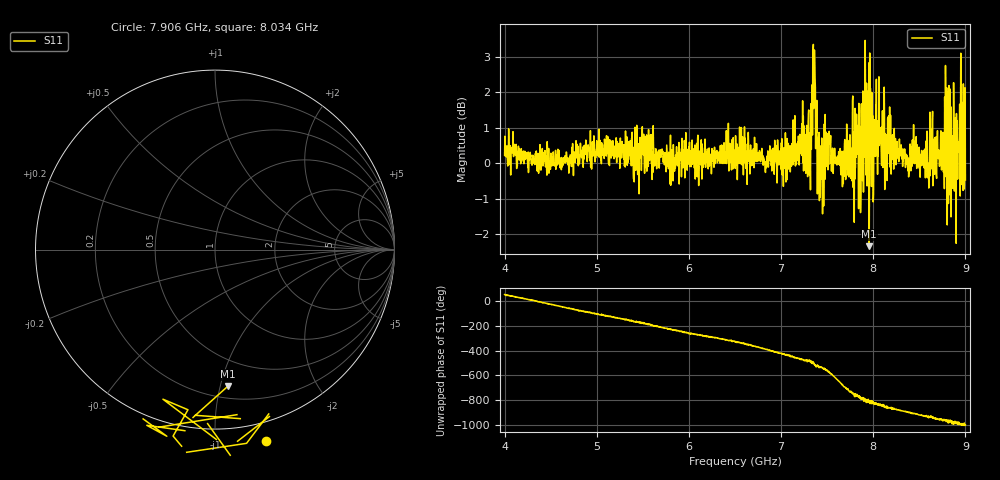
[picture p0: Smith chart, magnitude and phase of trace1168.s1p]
! Created with skrf 1.8.0 (http://scikit-rf.org).
# Hz S RI R 50.0
!freq ReS11 ImS11
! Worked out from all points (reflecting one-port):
!   1601 points, 4 GHz to 9 GHz, reference 50 ohm
!   lowest |S11| = -2.3 dB at 7.956 GHz (marker M1), VSWR 7.49, Z = 14.4 - j52.8 ohm
!   phase of S11 starts at 52 deg and turns -1049 deg over the sweep
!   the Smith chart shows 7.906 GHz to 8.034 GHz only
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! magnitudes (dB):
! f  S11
! 4 GHz  0.2
! 4.625 GHz  -0.1
! 5.25 GHz  -0.1
! 5.875 GHz  -0.1
! 6.5 GHz  0.4
! 6.828 GHz  -0.2
! 7.125 GHz  0.2
! 7.294 GHz  1.2
! 7.316 GHz  -0.1
! 7.347 GHz  3.1
! 7.362 GHz  3.2
! 7.4 GHz  0.5
! 7.441 GHz  0.7
! 7.503 GHz  0.6
! 7.659 GHz  0.3
! 7.75 GHz  0.6
! 7.881 GHz  1.0
! 7.891 GHz  0.9
! 7.928 GHz  2.3
! 7.956 GHz  -2.3
! 8.097 GHz  0.6
! 8.375 GHz  0.0
! 8.441 GHz  0.0
! 8.747 GHz  -0.2
! 8.8 GHz  0.4
! 8.903 GHz  1.4
! 8.972 GHz  0.5
! 9 GHz  -0.5
